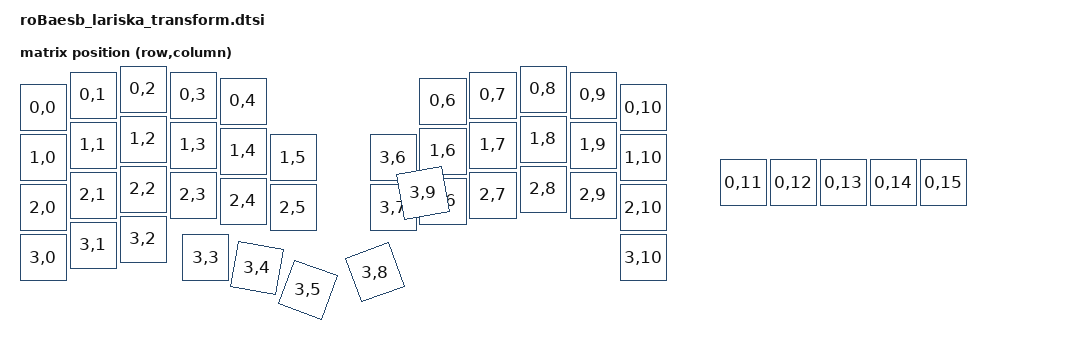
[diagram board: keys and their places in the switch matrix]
/*
 * Extends the roBa default_transform and physical layout to include 5 lariska
 * mouse button positions at row 0, columns 11-15.
 *
 * Include this file in both the lariska_esb peripheral overlay and the
 * mouse-enabled dongle overlay (roBaesb_display with ZMK_ESB_MOUSE).
 */

&default_transform {
    columns = <16>;
    map = <
        /* Row 0: 10 keys (cols 0-4, 6-10) */
        RC(0,0)  RC(0,1)  RC(0,2)  RC(0,3)  RC(0,4)
        RC(0,6)  RC(0,7)  RC(0,8)  RC(0,9)  RC(0,10)
        /* Row 1: 12 keys (6 left + RC(3,6) thumb + 5 right) */
        RC(1,0)  RC(1,1)  RC(1,2)  RC(1,3)  RC(1,4)  RC(1,5)
        RC(3,6)
        RC(1,6)  RC(1,7)  RC(1,8)  RC(1,9)  RC(1,10)
        /* Row 2: 12 keys (6 left + RC(3,7) thumb + 5 right) */
        RC(2,0)  RC(2,1)  RC(2,2)  RC(2,3)  RC(2,4)  RC(2,5)
        RC(3,7)
        RC(2,6)  RC(2,7)  RC(2,8)  RC(2,9)  RC(2,10)
        /* Row 3: 9 keys (6 left + 2 thumbs + 1 right) */
        RC(3,0)  RC(3,1)  RC(3,2)  RC(3,3)  RC(3,4)  RC(3,5)
        RC(3,8)  RC(3,9)
        RC(3,10)
        /* Lariska mouse buttons: 5 keys at row 0, cols 11-15 (positions 43-47) */
        RC(0,11) RC(0,12) RC(0,13) RC(0,14) RC(0,15)
    >;
};

&roba_physical_layout {
    keys = <
        /* Row 0 */
        &key_physical_attrs 100 100    0   37       0     0     0
        &key_physical_attrs 100 100  100   12       0     0     0
        &key_physical_attrs 100 100  200    0       0     0     0
        &key_physical_attrs 100 100  300   12       0     0     0
        &key_physical_attrs 100 100  400   24       0     0     0
        &key_physical_attrs 100 100  800   24       0     0     0
        &key_physical_attrs 100 100  900   12       0     0     0
        &key_physical_attrs 100 100 1000    0       0     0     0
        &key_physical_attrs 100 100 1100   12       0     0     0
        &key_physical_attrs 100 100 1200   37       0     0     0
        /* Row 1 */
        &key_physical_attrs 100 100    0  137       0     0     0
        &key_physical_attrs 100 100  100  112       0     0     0
        &key_physical_attrs 100 100  200  100       0     0     0
        &key_physical_attrs 100 100  300  112       0     0     0
        &key_physical_attrs 100 100  400  124       0     0     0
        &key_physical_attrs 100 100  500  137       0     0     0
        &key_physical_attrs 100 100  700  137       0     0     0
        &key_physical_attrs 100 100  800  124       0     0     0
        &key_physical_attrs 100 100  900  112       0     0     0
        &key_physical_attrs 100 100 1000  100       0     0     0
        &key_physical_attrs 100 100 1100  112       0     0     0
        &key_physical_attrs 100 100 1200  137       0     0     0
        /* Row 2 */
        &key_physical_attrs 100 100    0  237       0     0     0
        &key_physical_attrs 100 100  100  212       0     0     0
        &key_physical_attrs 100 100  200  200       0     0     0
        &key_physical_attrs 100 100  300  212       0     0     0
        &key_physical_attrs 100 100  400  224       0     0     0
        &key_physical_attrs 100 100  500  237       0     0     0
        &key_physical_attrs 100 100  700  237       0     0     0
        &key_physical_attrs 100 100  800  224       0     0     0
        &key_physical_attrs 100 100  900  212       0     0     0
        &key_physical_attrs 100 100 1000  200       0     0     0
        &key_physical_attrs 100 100 1100  212       0     0     0
        &key_physical_attrs 100 100 1200  237       0     0     0
        /* Row 3 */
        &key_physical_attrs 100 100    0  337       0     0     0
        &key_physical_attrs 100 100  100  312       0     0     0
        &key_physical_attrs 100 100  200  300       0     0     0
        &key_physical_attrs 100 100  325  337       0     0     0
        &key_physical_attrs 100 100  437  350    1000   437   350
        &key_physical_attrs 100 100  550  387    2000   550   387
        &key_physical_attrs 100 100  650  387 (-2000)   650   387
        &key_physical_attrs 100 100  763  350 (-1000)     0   350
        &key_physical_attrs 100 100 1200  337       0     0     0
        /* Lariska mouse buttons (placed to the right of the keyboard) */
        &key_physical_attrs 100 100 1400  187       0     0     0
        &key_physical_attrs 100 100 1500  187       0     0     0
        &key_physical_attrs 100 100 1600  187       0     0     0
        &key_physical_attrs 100 100 1700  187       0     0     0
        &key_physical_attrs 100 100 1800  187       0     0     0
    >;
};
